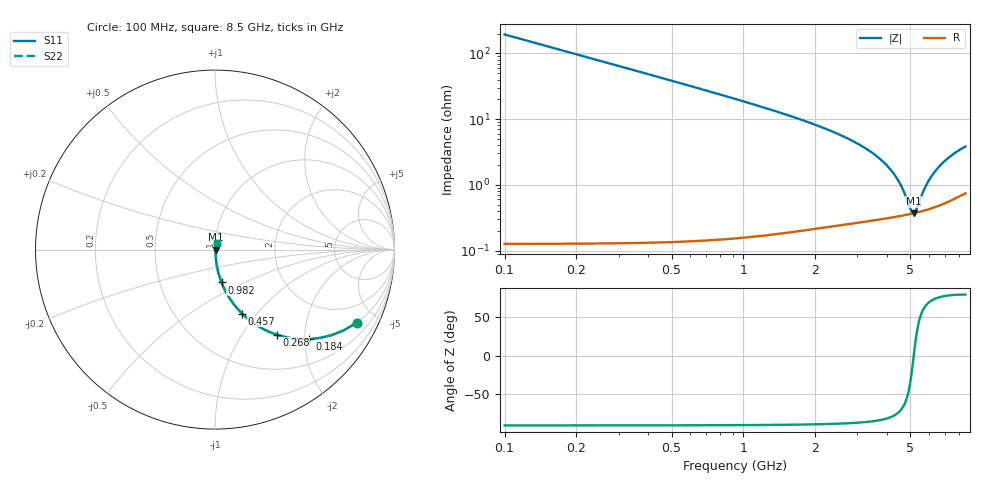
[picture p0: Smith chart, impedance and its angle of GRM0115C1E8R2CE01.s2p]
!Murata Part Number: GRM0115C1E8R2CE01
!These Parameters are Measured in Series Mode Connection
!Data Generated on Mar 30, 2021
!  o--ll--o
!Port1  Port2
!  o------o
!Operation Temp=25[degC], DC Bias Voltage=0[V]
!Freq. Start=100[MHz] Stop=9[GHz] 401[Steps]
# Hz S RI R 50
!Freq.(Hz) S11(Real) S11(Imag) S21(Real) S21(Imag) S12(Real) S12(Imag) S22(Real) S22(Imag)
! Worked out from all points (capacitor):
!   401 points, 100 MHz to 8.5 GHz, reference 50 ohm
!   read as one part in series: C = 8.2 pF near 142 MHz
!   lowest |Z| = 370 mohm at 5.161 GHz (marker M1)
!   series resonance near 5.165 GHz, so ESL is about 120 pH
!   S11 on the Smith chart (normalised r, x): 100 MHz: 1.00, -3.88; 184 MHz: 1.00, -2.11; 268 MHz: 1.00, -1.44; 457 MHz: 1.00, -0.84; 982 MHz: 1.00, -0.38; 8.5 GHz: 1.01, +0.08
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1e8  0.7899 -0.407  0.2101 0.407  0.2101 0.407  0.7899 -0.407
1.42e8  0.6509 -0.4762  0.3491 0.4762  0.3491 0.4762  0.6509 -0.4762
1.84e8  0.526 -0.4987  0.474 0.4987  0.474 0.4987  0.526 -0.4987
2.68e8  0.343 -0.4738  0.657 0.4738  0.657 0.4738  0.343 -0.4738
3.52e8  0.2319 -0.4209  0.7681 0.4209  0.7681 0.4209  0.2319 -0.4209
4.57e8  0.1514 -0.3569  0.8486 0.3569  0.8486 0.3569  0.1514 -0.3569
6.67e8  0.0766 -0.2635  0.9234 0.2635  0.9234 0.2635  0.0766 -0.2635
9.82e8  0.0362 -0.1829  0.9638 0.1829  0.9638 0.1829  0.0362 -0.1829
1.507e9  0.0153 -0.1152  0.9847 0.1152  0.9847 0.1152  0.0153 -0.1152
2.914e9  0.0046 -0.0447  0.9954 0.0447  0.9954 0.0447  0.0046 -0.0447
3.733e9  0.00357 -0.0244  0.9964 0.0244  0.9964 0.0244  0.00357 -0.0244
4.3e9  0.00342 -0.0136  0.9966 0.0136  0.9966 0.0136  0.00342 -0.0136
4.636e9  0.00346 -0.008  0.9965 0.008  0.9965 0.008  0.00346 -0.008
5.035e9  0.00362 -0.00189  0.9964 0.00189  0.9964 0.00189  0.00362 -0.00189
5.161e9  0.00369 -5.92e-05  0.9963 5.92e-05  0.9963 5.92e-05  0.00369 -5.92e-05
5.287e9  0.00377 0.00172  0.9962 -0.00172  0.9962 -0.00172  0.00377 0.00172
5.707e9  0.0041 0.00737  0.9959 -0.00737  0.9959 -0.00737  0.0041 0.00737
5.98e9  0.00437 0.0108  0.9956 -0.0108  0.9956 -0.0108  0.00437 0.0108
6.295e9  0.00473 0.0147  0.9953 -0.0147  0.9953 -0.0147  0.00473 0.0147
7.114e9  0.00595 0.0238  0.9941 -0.0238  0.9941 -0.0238  0.00595 0.0238
7.765e9  0.00718 0.0303  0.9928 -0.0303  0.9928 -0.0303  0.00718 0.0303
8.5e9  0.00875 0.0369  0.9913 -0.0369  0.9913 -0.0369  0.00875 0.0369
